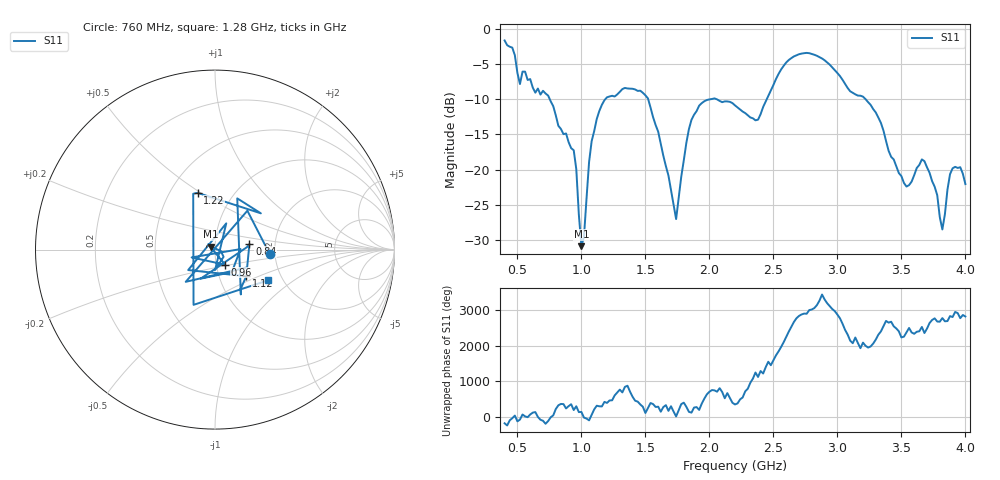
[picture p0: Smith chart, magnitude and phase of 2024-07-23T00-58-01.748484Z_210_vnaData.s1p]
!Created with skrf (http://scikit-rf.org).
# Hz S RI R 50.0
!freq ReS11 ImS11
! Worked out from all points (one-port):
!   181 points, 400 MHz to 4 GHz, reference 50 ohm
!   lowest |S11| = -30.8 dB at 1 GHz (marker M1), VSWR 1.06, Z = 47.7 + j1.56 ohm
!   |S11| at or under -10 dB: 752.6 MHz to 1.187 GHz (434.4 MHz wide, 44.8 % of centre); 1.522 GHz to 2.011 GHz (489.6 MHz wide, 27.7 % of centre); 3.22 GHz to end of sweep (the widest 3 of 4)
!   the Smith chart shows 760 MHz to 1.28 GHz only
!   S11 on the Smith chart (normalised r, x): 760 MHz: 1.87, -0.10; 840 MHz: 1.47, +0.10; 960 MHz: 1.10, -0.19; 1.12 GHz: 1.35, -0.42; 1.22 GHz: 0.68, +0.49; 1.28 GHz: 1.68, -0.65
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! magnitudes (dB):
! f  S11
! 400 MHz  -1.7
! 520 MHz  -7.9
! 760 MHz  -10.3
! 840 MHz  -14.2
! 860 MHz  -15.0
! 960 MHz  -19.9
! 1 GHz  -30.8
! 1.02 GHz  -29.5
! 1.06 GHz  -18.9
! 1.12 GHz  -12.8
! 1.22 GHz  -9.6
! 1.28 GHz  -9.3
! 1.3 GHz  -9.0
! 1.52 GHz  -9.9
! 1.74 GHz  -27.0
! 1.76 GHz  -23.9
! 1.84 GHz  -14.3
! 1.92 GHz  -10.9
! 2.2 GHz  -10.9
! 2.38 GHz  -12.9
! 2.66 GHz  -3.9
! 3.1 GHz  -8.9
! 3.3 GHz  -11.9
! 3.56 GHz  -22.2
! 3.68 GHz  -18.8
! 3.82 GHz  -28.5
! 3.9 GHz  -19.8
! 4 GHz  -22.0
